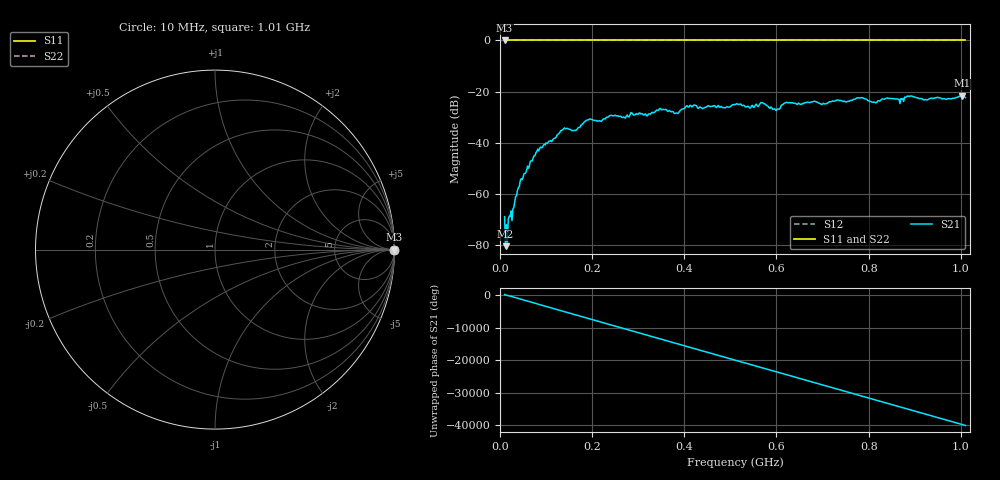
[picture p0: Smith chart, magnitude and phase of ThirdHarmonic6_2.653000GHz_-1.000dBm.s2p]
! 8/17/2025 6:04:10 AM
! C:\ANRITSUVNA\TEMP\TEMP.S2P
! CHANNEL.1
! TR.MEASUREMENT
! RAW.DATA
! RF.CORRECTION.OFF
! AVERAGING.OFF
! IF.BANDWIDTH: 5KHZ
! SWEEPTYPE:  FREQ.SWEEP(Linear)
! Reference Plane Port Info
! PORT:  PORT1  PORT2
! DISTANCE:  0  m  0  m
! TIME:  0  s  0  s
! PHASE.OFFSET:  0  deg.  0  deg.
! LOSS:  0  dB  0  dB
! REF.LOSS:  0  dB  0  dB
! REF.FREQ:  0  Hz  0  Hz
! Power Info
! POWER:  -20  dBm  -20  dBm
! EFF.POWER:  -20  dBm  -20  dBm
! SOURCE.ATTEN:  0  dB  0  dB
! TEST.ATTEN:  0  dB  0  dB
# GHZ S RI R 50.0
! FREQ.GHZ  S11RE  S11IM  S21RE  S21IM  S12RE  S12IM  S22RE  S22IM
!; PortSelection: Port_12
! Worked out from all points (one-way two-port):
!   501 points, 10 MHz to 1.01 GHz, reference 50 ohm
!   highest |S21| = -21.65 dB at 1.002 GHz (marker M1); lowest = -80.6 dB at 12 MHz (marker M2)
!   lowest |S11| = 0.0 dB at 10 MHz (marker M3)
!   |S11| at or under -10 dB: nowhere
!   |S22| runs from 0.0 to 0.0 dB; largest |S21 - S12| = 1.1
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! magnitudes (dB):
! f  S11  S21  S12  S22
! 10 MHz  0.0  -69.0  0.0  0.0
! 12 MHz  0.0  -80.6  0.0  0.0
! 16 MHz  0.0  -79.0  0.0  0.0
! 42 MHz  0.0  -57.2  0.0  0.0
! 78 MHz  0.0  -44.0  0.0  0.0
! 136 MHz  0.0  -35.0  0.0  0.0
! 162 MHz  0.0  -35.2  0.0  0.0
! 178 MHz  0.0  -33.0  0.0  0.0
! 194 MHz  0.0  -30.8  0.0  0.0
! 322 MHz  0.0  -28.8  0.0  0.0
! 344 MHz  0.0  -27.4  0.0  0.0
! 382 MHz  0.0  -28.4  0.0  0.0
! 410 MHz  0.0  -26.1  0.0  0.0
! 510 MHz  0.0  -25.2  0.0  0.0
! 540 MHz  0.0  -26.0  0.0  0.0
! 570 MHz  0.0  -24.4  0.0  0.0
! 602 MHz  0.0  -26.8  0.0  0.0
! 620 MHz  0.0  -24.4  0.0  0.0
! 678 MHz  0.0  -24.1  0.0  0.0
! 844 MHz  0.0  -22.7  0.0  0.0
! 1.002 GHz  0.0  -21.6  0.0  0.0
! 1.01 GHz  0.0  -22.4  0.0  0.0
